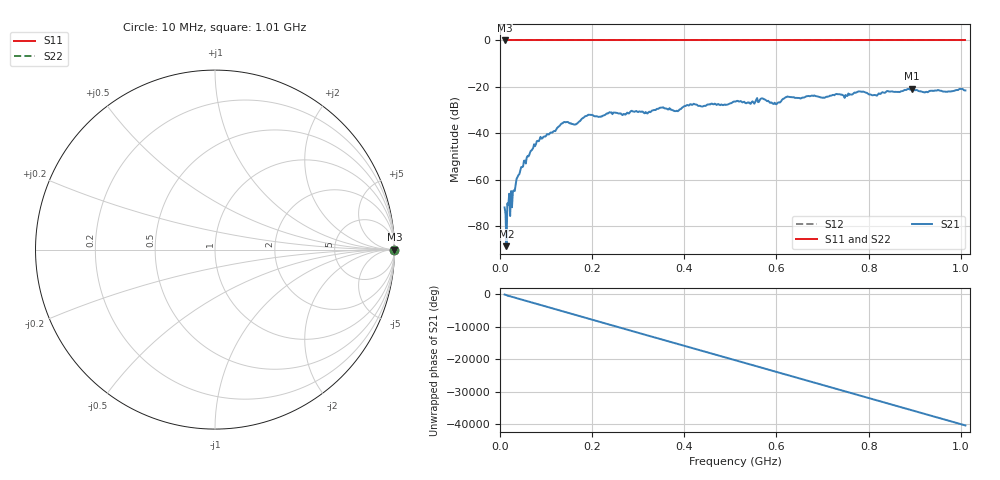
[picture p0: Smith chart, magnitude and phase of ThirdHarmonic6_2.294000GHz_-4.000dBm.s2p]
! 8/17/2025 3:03:54 AM
! C:\ANRITSUVNA\TEMP\TEMP.S2P
! CHANNEL.1
! TR.MEASUREMENT
! RAW.DATA
! RF.CORRECTION.OFF
! AVERAGING.OFF
! IF.BANDWIDTH: 5KHZ
! SWEEPTYPE:  FREQ.SWEEP(Linear)
! Reference Plane Port Info
! PORT:  PORT1  PORT2
! DISTANCE:  0  m  0  m
! TIME:  0  s  0  s
! PHASE.OFFSET:  0  deg.  0  deg.
! LOSS:  0  dB  0  dB
! REF.LOSS:  0  dB  0  dB
! REF.FREQ:  0  Hz  0  Hz
! Power Info
! POWER:  -20  dBm  -20  dBm
! EFF.POWER:  -20  dBm  -20  dBm
! SOURCE.ATTEN:  0  dB  0  dB
! TEST.ATTEN:  0  dB  0  dB
# GHZ S RI R 50.0
! FREQ.GHZ  S11RE  S11IM  S21RE  S21IM  S12RE  S12IM  S22RE  S22IM
!; PortSelection: Port_12
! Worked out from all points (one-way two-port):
!   501 points, 10 MHz to 1.01 GHz, reference 50 ohm
!   highest |S21| = -20.80 dB at 894 MHz (marker M1); lowest = -88.6 dB at 14 MHz (marker M2)
!   lowest |S11| = 0.0 dB at 10 MHz (marker M3)
!   |S11| at or under -10 dB: nowhere
!   |S22| runs from 0.0 to 0.0 dB; largest |S21 - S12| = 1.1
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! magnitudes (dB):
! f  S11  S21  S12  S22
! 10 MHz  0.0  -71.9  0.0  0.0
! 14 MHz  0.0  -88.6  0.0  0.0
! 18 MHz  0.0  -71.0  0.0  0.0
! 20 MHz  0.0  -66.0  0.0  0.0
! 26 MHz  0.0  -71.9  0.0  0.0
! 38 MHz  0.0  -58.8  0.0  0.0
! 48 MHz  0.0  -54.6  0.0  0.0
! 84 MHz  0.0  -43.4  0.0  0.0
! 136 MHz  0.0  -35.7  0.0  0.0
! 164 MHz  0.0  -36.2  0.0  0.0
! 178 MHz  0.0  -33.7  0.0  0.0
! 344 MHz  0.0  -29.4  0.0  0.0
! 382 MHz  0.0  -30.4  0.0  0.0
! 416 MHz  0.0  -27.7  0.0  0.0
! 510 MHz  0.0  -26.3  0.0  0.0
! 570 MHz  0.0  -25.0  0.0  0.0
! 596 MHz  0.0  -26.8  0.0  0.0
! 622 MHz  0.0  -24.4  0.0  0.0
! 678 MHz  0.0  -23.8  0.0  0.0
! 844 MHz  0.0  -22.0  0.0  0.0
! 894 MHz  0.0  -20.8  0.0  0.0
! 1.01 GHz  0.0  -21.5  0.0  0.0
